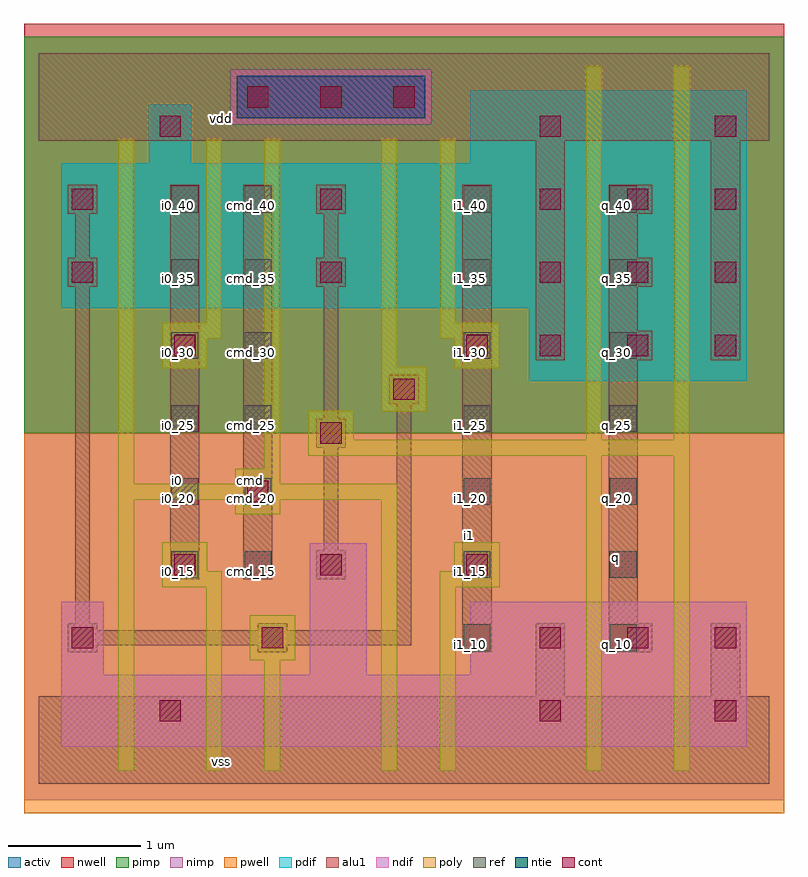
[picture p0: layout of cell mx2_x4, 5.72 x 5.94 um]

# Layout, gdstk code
import gdstk
lib = gdstk.Library(unit=1e-6, precision=2.5e-09)
def R(c, l, rs):  # rectangles x0, y0, x1, y1
    for r in rs: c.add(gdstk.rectangle(r[:2], r[2:], *l))
def A(c, l, x, y, w, h, nx, ny, dx, dy):  # array of equal rectangles
    R(c, l, [(x+i*dx, y+j*dy, x+i*dx+w, y+j*dy+h) for i in range(nx) for j in range(ny)])
ndif = (3, 0)
pdif = (4, 0)
ntie = (5, 0)
ref = (24, 0)
cont = (25, 0)
pwell = (41, 0)
nwell = (42, 0)
activ = (43, 0)
pimp = (44, 0)
nimp = (45, 0)
poly = (46, 0)
alu1 = (49, 0)

mx2_x4 = lib.new_cell('mx2_x4')
R(mx2_x4, ndif, [(0.17,0.28,5.33,0.82), (0.17,0.28,5.33,0.82), (0.17,0.82,0.49,1.37), (0.17,0.82,0.49,1.37), (2.04,0.82,2.47,1.81), (2.04,0.82,2.47,1.81), (3.25,0.82,5.33,1.37), (3.25,0.82,5.33,1.37)])
R(mx2_x4, pdif, [(3.69,3.03,5.33,3.58), (3.69,3.03,5.33,3.58), (0.17,3.58,5.33,4.67), (0.17,3.58,5.33,4.67), (0.83,4.67,1.15,5.11), (0.83,4.67,1.15,5.11), (3.25,4.67,5.33,5.22), (3.25,4.67,5.33,5.22)])
R(mx2_x4, ntie, [(1.49,5.01,2.91,5.33), (1.49,5.01,2.91,5.33)])
A(mx2_x4, ref, 3.2, 1, 0.2, 0.2, 1, 7, 0, 0.55)
A(mx2_x4, ref, 4.3, 1, 0.2, 0.2, 1, 7, 0, 0.55)
A(mx2_x4, ref, 1, 1.55, 0.2, 0.2, 1, 6, 0, 0.55)
A(mx2_x4, ref, 1.55, 1.55, 0.2, 0.2, 1, 6, 0, 0.55)
A(mx2_x4, cont, 3.77, 1.02, 0.16, 0.16, 3, 2, 0.66, 2.2)
A(mx2_x4, cont, 1.02, 1.57, 0.16, 0.16, 3, 1, 1.1, 0)
A(mx2_x4, cont, 3.77, 3.77, 0.16, 0.16, 3, 2, 0.66, 0.55)
A(mx2_x4, cont, 1.57, 5.09, 0.16, 0.16, 3, 1, 0.55, 0)
R(mx2_x4, cont, [(0.91,0.47,1.07,0.63), (3.77,0.47,3.93,0.63), (5.09,0.47,5.25,0.63), (0.25,1.02,0.41,1.18), (1.68,1.02,1.84,1.18), (1.57,2.12,1.73,2.28), (2.12,2.56,2.28,2.72), (2.67,2.89,2.83,3.05), (1.02,3.22,1.18,3.38), (3.22,3.22,3.38,3.38), (0.25,3.77,0.41,3.93), (2.12,3.77,2.28,3.93), (0.25,4.32,0.41,4.48), (2.12,4.32,2.28,4.48), (0.91,4.87,1.07,5.03), (3.77,4.87,3.93,5.03), (5.09,4.87,5.25,5.03)])
R(mx2_x4, pwell, [(-0.11,-0.22,5.61,2.64)])
R(mx2_x4, nwell, [(-0.11,2.64,5.61,5.72)])
R(mx2_x4, activ, [(0.17,0.28,5.33,0.82), (0.17,0.28,5.33,0.82), (0.17,0.82,0.49,1.37), (0.17,0.82,0.49,1.37), (2.04,0.82,2.47,1.81), (2.04,0.82,2.47,1.81), (3.25,0.82,5.33,1.37), (3.25,0.82,5.33,1.37), (3.69,3.03,5.33,3.58), (3.69,3.03,5.33,3.58), (0.17,3.58,5.33,4.67), (0.17,3.58,5.33,4.67), (0.83,4.67,1.15,5.11), (0.83,4.67,1.15,5.11), (3.25,4.67,5.33,5.22), (3.25,4.67,5.33,5.22), (1.49,5.01,2.91,5.33), (1.49,5.01,2.91,5.33)])
R(mx2_x4, pimp, [(-0.11,2.64,5.61,4.965), (-0.11,4.965,1.445,5.375), (2.955,4.965,5.61,5.375), (-0.11,5.375,5.61,5.625)])
R(mx2_x4, nimp, [(-0.11,-0.125,5.61,2.64), (1.445,4.965,2.955,5.375)])
R(mx2_x4, poly, [(0.6,0.1,0.72,2.14), (1.26,0.1,1.38,1.48), (1.7,0.1,1.82,0.93), (2.58,0.1,2.7,2.14), (3.02,0.1,3.14,1.48), (4.12,0.1,4.24,2.47), (4.78,0.1,4.9,2.47), (1.59,0.93,1.93,1.27), (0.93,1.48,1.38,1.6), (3.02,1.48,3.47,1.6), (0.93,1.6,1.27,1.82), (3.13,1.6,3.47,1.82), (1.48,2.03,1.82,2.14), (0.6,2.14,2.7,2.26), (0.6,2.26,0.72,4.85), (1.48,2.26,1.82,2.37), (1.7,2.37,1.82,4.85), (2.03,2.47,4.9,2.59), (2.03,2.59,2.37,2.81), (4.12,2.59,4.24,5.4), (4.78,2.59,4.9,5.4), (2.58,2.8,2.92,3.14), (0.93,3.13,1.27,3.35), (3.13,3.13,3.47,3.35), (2.58,3.14,2.7,4.85), (0.93,3.35,1.38,3.47), (3.02,3.35,3.47,3.47), (1.26,3.47,1.38,4.85), (3.02,3.47,3.14,4.85)])
A(mx2_x4, alu1, 4.29, 3.19, 0.33, 0.22, 1, 3, 0, 0.55)
R(mx2_x4, alu1, [(0,0,5.5,0.66), (3.74,0.66,3.96,1.21), (5.06,0.66,5.28,1.21), (0.22,0.99,0.44,1.045), (1.65,0.99,1.87,1.045), (3.19,0.99,3.41,4.51), (4.29,0.99,4.62,1.21), (0.22,1.045,2.805,1.155), (0.22,1.155,0.44,1.21), (1.65,1.155,1.87,1.21), (2.695,1.155,2.805,2.86), (0.275,1.21,0.385,3.74), (4.29,1.21,4.51,3.19), (0.99,1.54,1.21,4.51), (1.54,1.54,1.76,4.51), (2.09,1.54,2.31,1.76), (2.145,1.76,2.255,2.53), (2.09,2.53,2.31,2.75), (2.145,2.75,2.255,3.74), (2.64,2.86,2.86,3.08), (3.74,3.19,3.96,4.84), (5.06,3.19,5.28,4.84), (4.29,3.41,4.51,3.74), (0.22,3.74,0.44,3.96), (2.09,3.74,2.31,3.96), (0.275,3.96,0.385,4.29), (2.145,3.96,2.255,4.29), (4.29,3.96,4.51,4.29), (0.22,4.29,0.44,4.51), (2.09,4.29,2.31,4.51), (0,4.84,5.5,5.5)])
mx2_x4.add(gdstk.Label('vss', (1.375,0.165), layer=49, texttype=0))
mx2_x4.add(gdstk.Label('q', (4.345,1.705), layer=49, texttype=0))
mx2_x4.add(gdstk.Label('i1', (3.245,1.87), layer=49, texttype=0))
mx2_x4.add(gdstk.Label('cmd', (1.595,2.2825), layer=49, texttype=0))
mx2_x4.add(gdstk.Label('i0', (1.045,2.2825), layer=49, texttype=0))
mx2_x4.add(gdstk.Label('vdd', (1.375,5.005), layer=49, texttype=0))
mx2_x4.add(gdstk.Label('cmd_15', (1.6,1.6), layer=24, texttype=0))
mx2_x4.add(gdstk.Label('cmd_20', (1.6,2.15), layer=24, texttype=0))
mx2_x4.add(gdstk.Label('cmd_25', (1.6,2.7), layer=24, texttype=0))
mx2_x4.add(gdstk.Label('cmd_30', (1.6,3.25), layer=24, texttype=0))
mx2_x4.add(gdstk.Label('cmd_35', (1.6,3.8), layer=24, texttype=0))
mx2_x4.add(gdstk.Label('cmd_40', (1.6,4.35), layer=24, texttype=0))
mx2_x4.add(gdstk.Label('q_25', (4.35,2.7), layer=24, texttype=0))
mx2_x4.add(gdstk.Label('q_35', (4.35,3.8), layer=24, texttype=0))
mx2_x4.add(gdstk.Label('q_40', (4.35,4.35), layer=24, texttype=0))
mx2_x4.add(gdstk.Label('q_15', (4.35,1.6), layer=24, texttype=0))
mx2_x4.add(gdstk.Label('q_20', (4.35,2.15), layer=24, texttype=0))
mx2_x4.add(gdstk.Label('q_30', (4.35,3.25), layer=24, texttype=0))
mx2_x4.add(gdstk.Label('q_10', (4.35,1.05), layer=24, texttype=0))
mx2_x4.add(gdstk.Label('i0_15', (1.05,1.6), layer=24, texttype=0))
mx2_x4.add(gdstk.Label('i0_20', (1.05,2.15), layer=24, texttype=0))
mx2_x4.add(gdstk.Label('i0_25', (1.05,2.7), layer=24, texttype=0))
mx2_x4.add(gdstk.Label('i0_30', (1.05,3.25), layer=24, texttype=0))
mx2_x4.add(gdstk.Label('i0_35', (1.05,3.8), layer=24, texttype=0))
mx2_x4.add(gdstk.Label('i0_40', (1.05,4.35), layer=24, texttype=0))
mx2_x4.add(gdstk.Label('i1_10', (3.25,1.05), layer=24, texttype=0))
mx2_x4.add(gdstk.Label('i1_15', (3.25,1.6), layer=24, texttype=0))
mx2_x4.add(gdstk.Label('i1_20', (3.25,2.15), layer=24, texttype=0))
mx2_x4.add(gdstk.Label('i1_25', (3.25,2.7), layer=24, texttype=0))
mx2_x4.add(gdstk.Label('i1_30', (3.25,3.25), layer=24, texttype=0))
mx2_x4.add(gdstk.Label('i1_35', (3.25,3.8), layer=24, texttype=0))
mx2_x4.add(gdstk.Label('i1_40', (3.25,4.35), layer=24, texttype=0))

lib.write_gds('mx2_x4.gds')
